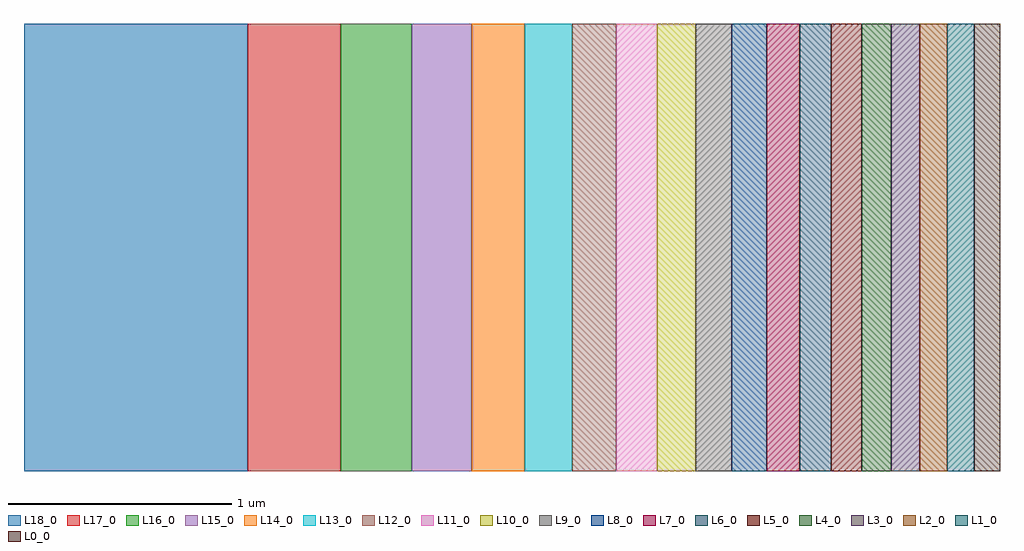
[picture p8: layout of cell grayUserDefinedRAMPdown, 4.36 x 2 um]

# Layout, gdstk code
import gdstk
lib = gdstk.Library(unit=1e-6, precision=1e-09)
def R(c, l, rs):  # rectangles x0, y0, x1, y1
    for r in rs: c.add(gdstk.rectangle(r[:2], r[2:], *l))
L0_0 = (0, 0)
L1_0 = (1, 0)
L2_0 = (2, 0)
L3_0 = (3, 0)
L4_0 = (4, 0)
L5_0 = (5, 0)
L6_0 = (6, 0)
L7_0 = (7, 0)
L8_0 = (8, 0)
L9_0 = (9, 0)
L10_0 = (10, 0)
L11_0 = (11, 0)
L12_0 = (12, 0)
L13_0 = (13, 0)
L14_0 = (14, 0)
L15_0 = (15, 0)
L16_0 = (16, 0)
L17_0 = (17, 0)
L18_0 = (18, 0)

grayuserdefinedrampdown = lib.new_cell('grayUserDefinedRAMPdown')
R(grayuserdefinedrampdown, L0_0, [(4.243,0,4.359,2)])
R(grayuserdefinedrampdown, L1_0, [(4.123,0,4.243,2)])
R(grayuserdefinedrampdown, L2_0, [(4,0,4.123,2)])
R(grayuserdefinedrampdown, L3_0, [(3.873,0,4,2)])
R(grayuserdefinedrampdown, L4_0, [(3.742,0,3.873,2)])
R(grayuserdefinedrampdown, L5_0, [(3.606,0,3.742,2)])
R(grayuserdefinedrampdown, L6_0, [(3.464,0,3.606,2)])
R(grayuserdefinedrampdown, L7_0, [(3.317,0,3.464,2)])
R(grayuserdefinedrampdown, L8_0, [(3.162,0,3.317,2)])
R(grayuserdefinedrampdown, L9_0, [(3,0,3.162,2)])
R(grayuserdefinedrampdown, L10_0, [(2.828,0,3,2)])
R(grayuserdefinedrampdown, L11_0, [(2.646,0,2.828,2)])
R(grayuserdefinedrampdown, L12_0, [(2.449,0,2.646,2)])
R(grayuserdefinedrampdown, L13_0, [(2.236,0,2.449,2)])
R(grayuserdefinedrampdown, L14_0, [(2,0,2.236,2)])
R(grayuserdefinedrampdown, L15_0, [(1.732,0,2,2)])
R(grayuserdefinedrampdown, L16_0, [(1.414,0,1.732,2)])
R(grayuserdefinedrampdown, L17_0, [(1,0,1.414,2)])
R(grayuserdefinedrampdown, L18_0, [(0,0,1,2)])

lib.write_gds('grayUserDefinedRAMPdown.gds')
